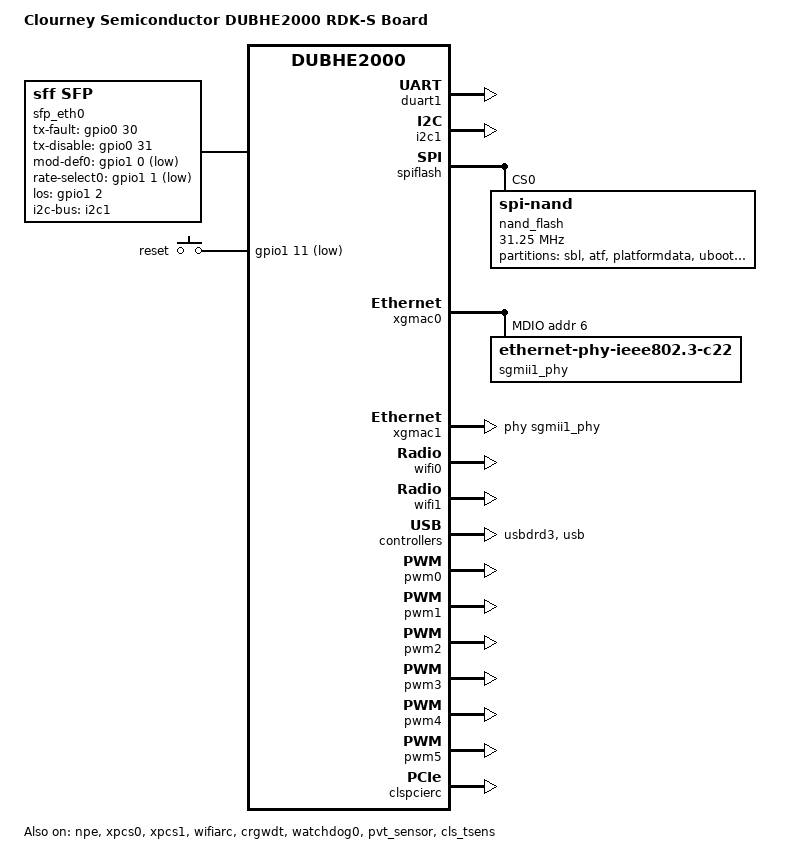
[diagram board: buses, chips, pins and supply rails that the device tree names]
// SPDX-License-Identifier: (GPL-2.0+ OR MIT)
/*
 * Device Tree Include file for Clourney dubhe2000 family SoC.
 *
 * Copyright (C) 2022-2024 Clourney Semiconductor - All Rights Reserved.
 *
 */

/dts-v1/;
#include "clourney-dubhe2000.dtsi"

/ {
	model = "Clourney Semiconductor DUBHE2000 RDK-S Board";
	compatible = "clsemi,dubhe2000-rdk-s", "clsemi,dubhe2000";

	aliases {
		serial0 = &duart1;
		spidev0 = &spi0;
                spidev1 = &spi1;
		spidev2 = &spi2;
		spinand = &spiflash;
		pwm0 = &pwm0;
		pwm1 = &pwm1;
		pwm2 = &pwm2;
		pwm3 = &pwm3;
		pwm4 = &pwm4;
		pwm5 = &pwm5;
		led-boot = &led_status_red;
		led-failsafe = &led_status_red;
		led-running = &led_status_red;
		led-upgrade = &led_status_red;
	};

	chosen {
		stdout-path = "serial0:115200n8";
	};

	macros {
	    #define MMC_CARD_USED   1
	 };

	sfp_eth0: sfp-eth0 {
	  compatible = "sff,sfp";
	  i2c-bus = <&i2c1>;
	  tx-fault-gpio  = <&gpio0 30 GPIO_ACTIVE_HIGH>;
	  tx-disable-gpio = <&gpio0 31 GPIO_ACTIVE_HIGH>;
	  mod-def0-gpio = <&gpio1 0 GPIO_ACTIVE_LOW>;
	  rate-select0-gpio = <&gpio1 1 GPIO_ACTIVE_LOW>;
	  los-gpio = <&gpio1 2 GPIO_ACTIVE_HIGH>;
	  maximum-power-milliwatt = <3000>;
	  status = "ok";
	};
};

&duart1 {
	status = "ok";
};

&spi0 {
	status = "disabled";
	spidev@0 {
		spi-max-frequency = <5000000>;
		reg = <0>;
		compatible = "linux,spidev";
	};
};

&spi1 {
	status = "disabled";
	spidev@0 {
		spi-max-frequency = <5000000>;
		reg = <0>;
		compatible = "linux,spidev";
	};
};

&spi2 {
	status = "disabled";
	spidev@0 {
		spi-max-frequency = <5000000>;
		reg = <0>;
		compatible = "linux,spidev";
	};
};

&i2c0 {
        label = "I2C0";
        status = "disabled";
};

&i2c1 {
	label = "I2C1";
	status = "okay";
};

&i2c2 {
        label = "I2C2";
        status = "disabled";
};

&spiflash {
	rx-sample-delay-ns = <8>;
	status = "ok";

	nand_flash: flash@0 {
		compatible = "spi-nand";
		 /* Avoid interference with 5G and 2.4G, not setting clk to  41.67MHz  */
		spi-max-frequency = <31250000>;
		reg = <0>;
		#address-cells = <1>;
		#size-cells = <1>;

		/*0.5MB*/
		partition@0 {
			label = "sbl";
			reg = <0x0 0x80000>;
		};

		/*0.5MB*/
		partition@1 {
			label = "atf";
			reg = <0x80000 0x80000>;
		};

		/*1MB*/
		partition@2 {
			label = "platformdata";
			reg = <0x100000 0x100000>;
		};

		/*2MB*/
		partition@3 {
			label = "uboot";
			reg = <0x200000 0x200000>;
		};

		/*1MB*/
		partition@4 {
			label = "caldata";
			reg = <0x400000 0x100000>;
		};

		/*1MB*/
		partition@5 {
			label = "caldata2";
			reg = <0x500000 0x100000>;
		};

		/*1.5MB*/
                partition@6 {
                        label = "ubootenv";
                        reg = <0x600000 0x180000>;
                };

		/*1.5MB*/
                partition@7 {
                        label = "boarddata";
                        reg = <0x780000 0x180000>;
                };

		/*32MB*/
                partition@8 {
                        label = "fw1";
                        reg = <0x900000 0x2000000>;
                };

		/*32MB*/
                partition@9 {
                        label = "fw2";
                        reg = <0x2900000 0x2000000>;
                };

		/*55MB*/
                partition@10 {
                        label = "reserved";
                        reg = <0x4900000 0x3700000>;
                };
	};
};

&npe  {
	status = "ok";
	switch-pause = <4>;
};

&xpcs0 {
	phy-mode= "usxgmii";
	usxg_mode = <0>;
        status = "okay";
};

&xpcs1 {
        phy-mode = "sgmii";
        status = "okay";
};

&xgmac0 {
        mode = "non-rgmii";
	max-speed = <10000>;
        mac-address = [a0 c0 ab 39 cc f0];
	sfp=<&sfp_eth0>;
	managed = "in-band-status";
        mdio-flags = <1>;
        clk_csr = <1>;
        status = "okay";
        mdio {
        compatible = "clourney,mdio";
        #address-cells = <1>;
        #size-cells = <0>;
        device_type = "mdio";
        status = "okay";
        sgmii1_phy: ethernet-phy@6 {
                compatible = "ethernet-phy-ieee802.3-c22";
                reg = <0x6>;
        };
  };
};

&xgmac4 {
    status = "disabled";
};

&xgmac1 {
        mode = "non-rgmii";
        max-speed = <2500>;
        phy-handle = <&sgmii1_phy>;
        mdio-flags = <1>;
        status = "okay";
};

&xgmac2 {
        status = "disabled";
};

&xgmac3 {
        status = "disabled";
};

&wifi0 { status = "ok"; };

&wifi1 { status = "ok"; };

&wifiarm { status = "disabled"; };

&wifiarc { status = "ok"; };

&crgwdt {
        timeout-sec = <WDT_TIMEOUT_S>;
        status = "ok";
};

&watchdog0 {
	timeout-sec = <WDT_TIMEOUT_S>;
	status = "ok";
};

&gpio0 { status = "ok"; };

&gpio1 { status = "ok"; };

&gpio_keys {
	reset {
		label = "reset";
		gpios = <&gpio1 11 GPIO_ACTIVE_LOW>; /* gpio1->32, 32 + 11 = 43(actual gpio number) */
		linux,code = <KEY_RESTART>;
	};
};

&gpio_leds {
	status = "ok";

	led_status_red: red {
		label = "red:status";
		gpios = <&gpio0 17 GPIO_ACTIVE_HIGH>; /* gpio0->0, 0 + 17 = 17 (actual gpio number) */
		default-status = "on";
	};

	led_status_green: green {
		label = "green:status";
		gpios = <&gpio0 18 GPIO_ACTIVE_HIGH>; /* gpio0->0, 0 + 18 = 18(actual gpio number) */
		default-status = "on";
	};

	led_status_blue: blue {
		label = "blue:status";
		gpios = <&gpio0 19 GPIO_ACTIVE_HIGH>; /* gpio0->0, 0 + 19 = 19(actual gpio number) */
		default-status = "on";
	};
};

&usbdrd3 { status = "ok";};

&usb {status = "ok"; };

&pwm0 { status = "ok"; };

&pwm1 { status = "ok"; };

&pwm2 { status = "ok"; };

&pwm3 { status = "ok"; };

&pwm4 { status = "ok"; };

&pwm5 { status = "ok"; };

&pvt_sensor {
	status = "ok";
        // T2
        temp_rise_alarm2_L = "102000";
        temp_rise_alarm2_H = "110000";
        temp_fall_alarm2_H = "110000";
        temp_fall_alarm2_L = "102000";
        // T0
        temp_rise_alarm0_L = "110000";
        temp_rise_alarm0_H = "118000";
        temp_fall_alarm0_H = "118000";
        temp_fall_alarm0_L = "110000";
        // T1
        temp_rise_alarm1_L = "118000";
        temp_rise_alarm1_H = "126000";
        temp_fall_alarm1_H = "126000";
        temp_fall_alarm1_L = "118000";
};

&cls_tsens {
	status = "ok";
        // T2
        temp_rise_alarm2_L = "102000";
        temp_rise_alarm2_H = "110000";
        temp_fall_alarm2_H = "110000";
        temp_fall_alarm2_L = "102000";
        // T0
        temp_rise_alarm0_L = "110000";
        temp_rise_alarm0_H = "118000";
        temp_fall_alarm0_H = "118000";
        temp_fall_alarm0_L = "110000";
        // T1
        temp_rise_alarm1_L = "118000";
        temp_rise_alarm1_H = "126000";
        temp_fall_alarm1_H = "126000";
        temp_fall_alarm1_L = "118000";
};

&clspcierc {
	perst-gpio = <&gpio0 10 1>;
	status = "ok";
};
